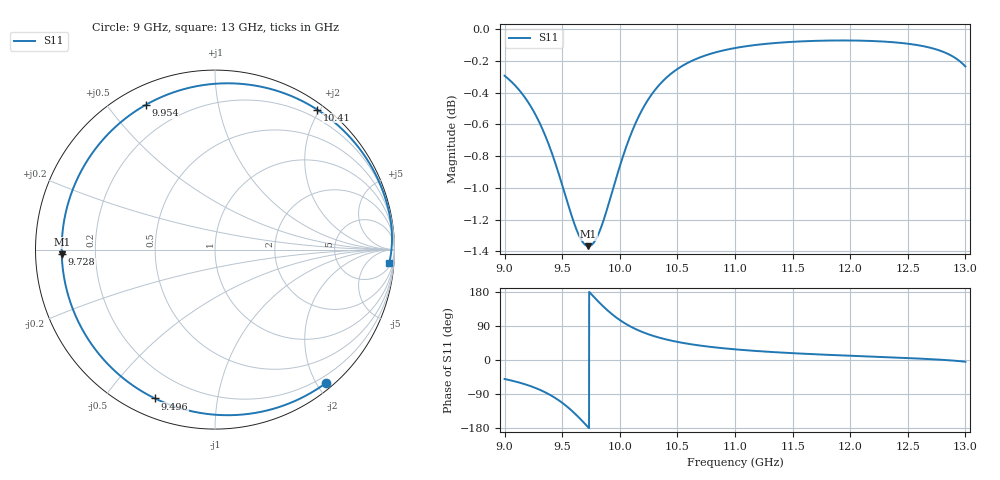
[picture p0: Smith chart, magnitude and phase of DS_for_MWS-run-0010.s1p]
! TOUCHSTONE file generated by CST DESIGN STUDIO
! Date and time: Tue Feb  4 18:23:16 2025
! Project name: C:\Work\MatlabApps\UnitCellOptimizationMatlab\CST\unitcell.cst
! Tree item: Tasks\Sweep1\SPara1\S-Parameters
! Header version: 2024
! Port assignment regex: !\s*Touchstone port\s*([0-9]+)\s*=\s*(CST MWS port|CST DES external port|CST DES block port)\s*(.+)\s* \(\"(.*)\"\)(\s*mode\s*([0-9]+))?.*
! Touchstone port assignment:
! Touchstone port 1 = CST DES external port 1 ("")
# GHz S MA R 50
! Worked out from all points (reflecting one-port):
!   4001 points, 9 GHz to 13 GHz, reference 50 ohm
!   lowest |S11| = -1.4 dB at 9.728 GHz (marker M1), VSWR 12.74, Z = 3.93 - j0.735 ohm
!   phase of S11 starts at -50 deg and turns -314 deg over the sweep
!   S11 on the Smith chart (normalised r, x): 9 GHz: 0.09, -2.13; 9.496 GHz: 0.08, -0.67; 9.728 GHz: 0.08, -0.01; 9.954 GHz: 0.08, +0.63; 10.41 GHz: 0.08, +1.97; 13 GHz: 8, -23
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9  0.9668 -50.2
9.136  0.9559 -60.3
9.263  0.9407 -73.2
9.395  0.9174 -92.1
9.448  0.9056 -101.9
9.496  0.8941 -112.0
9.5  0.8932 -112.9
9.554  0.88 -126.0
9.607  0.8681 -140.5
9.671  0.8577 -159.9
9.728  0.8544 -178.3
9.775  0.8567 166.4
9.824  0.8636 151.0
9.889  0.8776 132.2
9.954  0.8939 115.6
10  0.9054 105.5
10.086  0.9246 89.5
10.193  0.9431 74.2
10.295  0.9558 63.2
10.408  0.9657 53.9
10.5  0.9716 47.8
10.718  0.9805 37.2
11  0.9865 28.1
11.5  0.9909 18.0
12  0.9919 11.2
12.5  0.9896 5.1
12.791  0.9843 0.6
13  0.9734 -4.5
